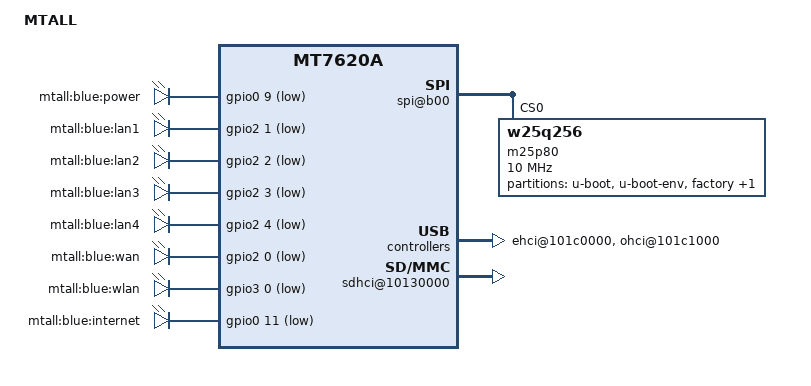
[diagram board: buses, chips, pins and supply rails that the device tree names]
/dts-v1/;

/include/ "mt7620a.dtsi"

/ {
	compatible = "mtall", "ralink,mt7620a-soc";
	model = "MTALL";

	/*chosen {
		bootargs = "console=ttyS0,115200n8";
	};*/

  /*i2c@900 {
    status = "okay";

    rtc@68 {
      compatible = "dallas,ds1307";
      reg = <0x68>;
    };
  };*/

	palmbus@10000000 {
		/* Manfeel: enabled gpio0 & gpio1 */
		gpio0: gpio@600 {
			status = "okay";
		};

		gpio1: gpio@638 {
			status = "okay";
		};

		gpio2: gpio@660 {
			status = "okay";
		};

		gpio3: gpio@688 {
			status = "okay";
		};

		spi@b00 {
			status = "okay";

			m25p80@0 {
				#address-cells = <1>;
				#size-cells = <1>;
				compatible = "w25q256";
				reg = <0 0>;
				linux,modalias = "m25p80", "w25q256";
				spi-max-frequency = <10000000>;

				partition@0 {
					label = "u-boot";
					reg = <0x0 0x30000>;
					read-only;
				};

				partition@30000 {
					label = "u-boot-env";
					reg = <0x30000 0x10000>;
					read-only;
				};

				factory: partition@40000 {
					label = "factory";
					reg = <0x40000 0x10000>;
					read-only;
				};

				partition@50000 {
					label = "firmware";
					reg = <0x50000 0xfb0000>;
				};
			};

			/*
			m25p80@1 {
				#address-cells = <1>;
				#size-cells = <1>;
				compatible = "w25q256";
				reg = <1 0>;
				linux,modalias = "m25p80", "w25q256";
				spi-max-frequency = <10000000>;

				partition@0 {
					label = "edisk1";
					reg = <0x0 0x2000000>;
				};
			};

			m25p80@2 {
				#address-cells = <1>;
				#size-cells = <1>;
				compatible = "w25q256";
				reg = <2 0>;
				linux,modalias = "m25p80", "w25q256";
				spi-max-frequency = <10000000>;

				partition@0 {
					label = "edisk2";
					reg = <0x0 0x2000000>;
				};
			};
			*/

			/* Manfeel: enable spidev */
			/*
			spidev@1 {
				#address-cells = <1>;
				#size-cells = <1>;
				compatible = "spidev";
				reg = <1 0>;
				linux,modalias = "spidev", "spidev";
				spi-max-frequency = <10000000>;

			};
			*/
		};
	};

	ehci@101c0000 {
		status = "okay";
	};

	ohci@101c1000 {
		status = "okay";
	};

	sdhci@10130000 {
		status = "okay";
	};

	ethernet@10100000 {
		mtd-mac-address = <&factory 0x4>;
		ralink,port-map = "wllll";
	};

	wmac@10180000 {
		ralink,mtd-eeprom = <&factory 0>;
	};

	pinctrl {
		state_default: pinctrl0 {
			default {
				ralink,group = "ephy", "wled", "pa", "i2c", "wdt", "uartf", "mdio";
				ralink,function = "gpio";
			};
		};
	};

	gpio-leds {
		compatible = "gpio-leds";
		power1 {
			label = "mtall:blue:power";
			gpios = <&gpio0 9 1>;
		};
		lan1 {
			label = "mtall:blue:lan1";
			gpios = <&gpio2 1 1>;
		};
		lan2 {
			label = "mtall:blue:lan2";
			gpios = <&gpio2 2 1>;
		};
		lan3 {
			label = "mtall:blue:lan3";
			gpios = <&gpio2 3 1>;
		};
		lan4 {
			label = "mtall:blue:lan4";
			gpios = <&gpio2 4 1>;
		};
		wan {
			label = "mtall:blue:wan";
			gpios = <&gpio2 0 1>;
		};
		wlan {
			label = "mtall:blue:wlan";
			gpios = <&gpio3 0 1>;
		};
		internet {
			label = "mtall:blue:internet";
			gpios = <&gpio0 11 1>;
		};
	};

};
